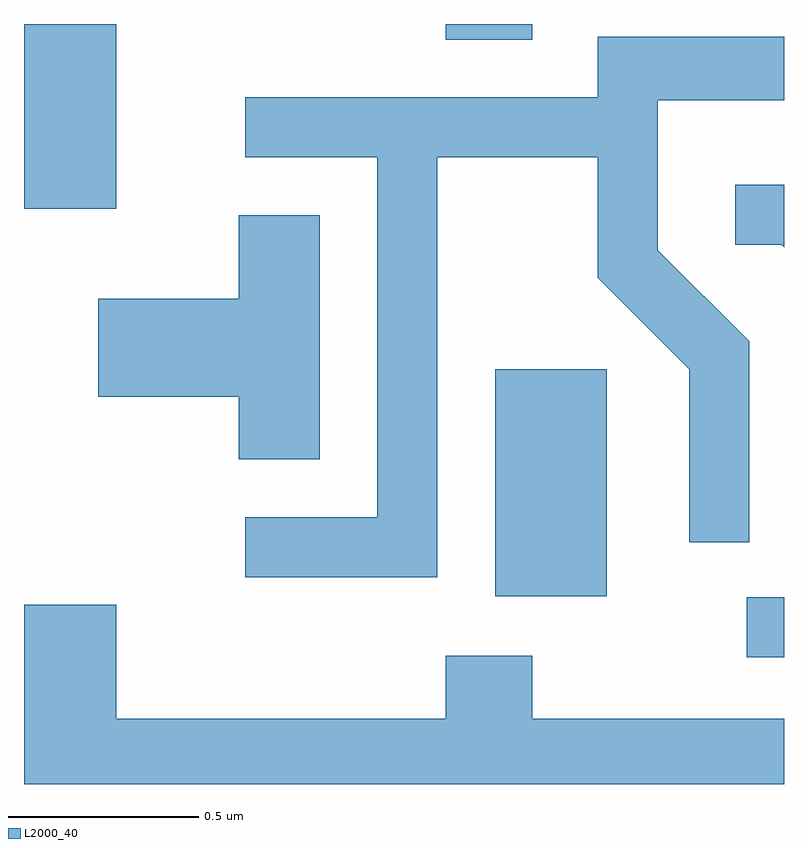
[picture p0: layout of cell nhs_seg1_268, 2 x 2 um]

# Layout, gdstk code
import gdstk
lib = gdstk.Library(unit=1e-6, precision=1e-09)
def R(c, l, rs):  # rectangles x0, y0, x1, y1
    for r in rs: c.add(gdstk.rectangle(r[:2], r[2:], *l))
def P(c, l, *ps):  # polygons
    for p in ps: c.add(gdstk.Polygon(p, *l))
L2000_40 = (2000, 40)

nhs_seg1_268 = lib.new_cell('nhs_seg1_268')
R(nhs_seg1_268, L2000_40, [(188.513,971.046,188.611,971.204), (187.851,971.206,188.144,971.804), (186.611,972.226,186.854,972.712), (187.721,972.671,187.949,972.712)])
P(nhs_seg1_268, L2000_40, [(187.699,972.361),(188.121,972.361),(188.121,972.044),(188.361,971.804),(188.361,971.348),(188.519,971.348),(188.519,971.877),(188.279,972.117),(188.279,972.511),(188.611,972.511),(188.611,972.679),(188.121,972.679),(188.121,972.519),(187.193,972.519),(187.193,972.361),(187.541,972.361),(187.541,971.414),(187.193,971.414),(187.193,971.256),(187.699,971.256)],
  [(188.611,972.289),(188.483,972.289),(188.483,972.131),(188.604,972.131),(188.611,972.124)],
  [(187.389,972.209),(187.176,972.209),(187.176,971.989),(186.806,971.989),(186.806,971.731),(187.176,971.731),(187.176,971.566),(187.389,971.566)],
  [(188.611,970.884),(187.949,970.884),(187.949,971.049),(187.721,971.049),(187.721,970.884),(186.854,970.884),(186.854,971.184),(186.611,971.184),(186.611,970.712),(188.611,970.712)])

lib.write_gds('nhs_seg1_268.gds')
